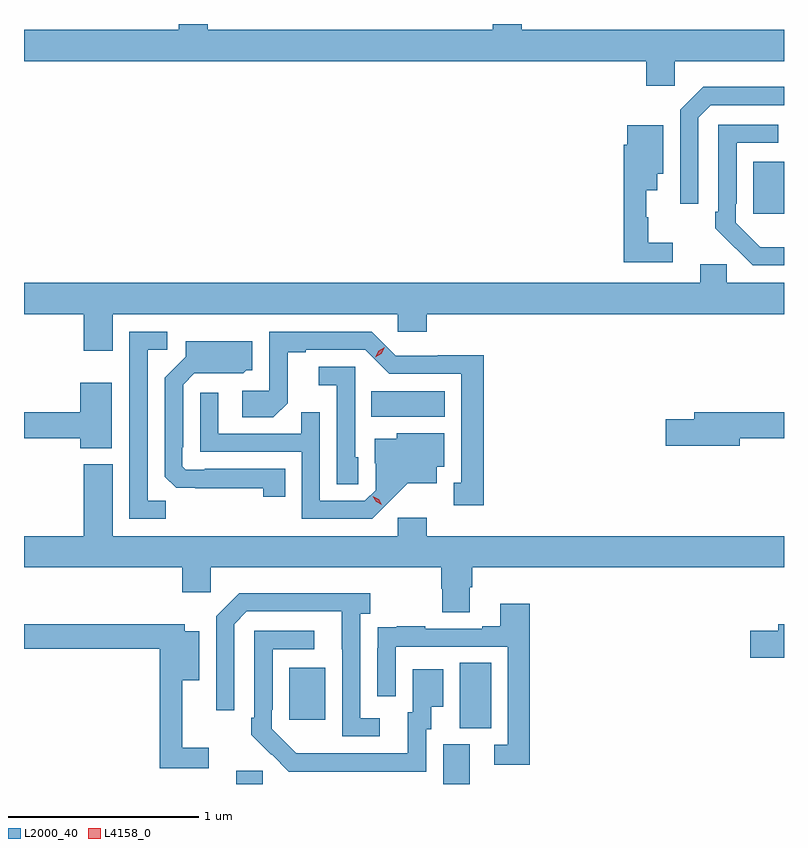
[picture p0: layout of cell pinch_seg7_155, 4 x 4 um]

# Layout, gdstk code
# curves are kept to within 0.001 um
import gdstk
lib = gdstk.Library(unit=1e-6, precision=1e-09)
def R(c, l, rs):  # rectangles x0, y0, x1, y1
    for r in rs: c.add(gdstk.rectangle(r[:2], r[2:], *l))
def P(c, l, *ps):  # polygons
    for p in ps: c.add(gdstk.Polygon(p, *l))
L2000_40 = (2000, 40)
L4158_0 = (4158, 0)

pinch_seg7_155 = lib.new_cell('pinch_seg7_155')
R(pinch_seg7_155, L2000_40, [(1047.746,1027.447,1047.885,1027.518), (1048.835,1027.447,1048.975,1027.656), (1048.922,1027.741,1049.086,1028.084), (1048.025,1027.785,1048.213,1028.059), (1048.456,1029.38,1048.843,1029.514), (1050.467,1030.449,1050.628,1030.723)])
P(pinch_seg7_155, L2000_40, [(1050.054,1031.252),(1050.628,1031.252),(1050.628,1031.416),(1049.249,1031.416),(1049.249,1031.447),(1049.096,1031.447),(1049.096,1031.416),(1047.594,1031.416),(1047.594,1031.447),(1047.443,1031.447),(1047.443,1031.416),(1046.628,1031.416),(1046.628,1031.252),(1049.903,1031.252),(1049.903,1031.121),(1050.054,1031.121)],
  [(1050.177,1030.953),(1050.243,1031.019),(1050.628,1031.019),(1050.628,1031.116),(1050.202,1031.116),(1050.081,1030.995),(1050.081,1030.5),(1050.177,1030.5)],
  [(1050.628,1030.272),(1050.504,1030.273),(1050.375,1030.401),(1050.375,1030.501),(1050.378,1030.501),(1050.378,1030.821),(1050.598,1030.821),(1050.598,1030.917),(1050.282,1030.917),(1050.282,1030.459),(1050.267,1030.459),(1050.267,1030.371),(1050.464,1030.176),(1050.628,1030.176)],
  [(1050.043,1030.295),(1049.914,1030.295),(1049.914,1030.431),(1049.903,1030.431),(1049.903,1030.571),(1049.962,1030.571),(1049.962,1030.658),(1049.992,1030.658),(1049.992,1030.915),(1049.804,1030.915),(1049.804,1030.811),(1049.785,1030.811),(1049.785,1030.194),(1050.043,1030.194)],
  [(1047.094,1029.92),(1048.596,1029.92),(1048.596,1029.827),(1048.748,1029.827),(1048.748,1029.92),(1050.628,1029.92),(1050.628,1030.084),(1050.327,1030.084),(1050.327,1030.182),(1050.188,1030.182),(1050.188,1030.084),(1046.628,1030.084),(1046.628,1029.92),(1046.942,1029.92),(1046.942,1029.726),(1047.094,1029.726)],
  [(1047.375,1028.939),(1047.279,1028.939),(1047.279,1029.732),(1047.382,1029.732),(1047.382,1029.828),(1047.183,1029.828),(1047.183,1028.844),(1047.375,1028.844)],
  [(1049.047,1029.704),(1048.806,1029.704),(1048.806,1029.702),(1048.584,1029.702),(1048.458,1029.828),(1047.918,1029.828),(1047.918,1029.516),(1047.777,1029.516),(1047.777,1029.376),(1047.941,1029.376),(1048.017,1029.452),(1048.017,1029.72),(1048.111,1029.72),(1048.111,1029.732),(1048.425,1029.732),(1048.551,1029.606),(1048.928,1029.606),(1048.928,1029.033),(1048.889,1029.033),(1048.889,1028.913),(1049.047,1028.913)],
  [(1048.004,1029.105),(1047.58,1029.105),(1047.58,1029.102),(1047.48,1029.102),(1047.462,1029.12),(1047.462,1029.22),(1047.465,1029.22),(1047.465,1029.549),(1047.525,1029.609),(1047.782,1029.608),(1047.798,1029.624),(1047.829,1029.624),(1047.829,1029.778),(1047.479,1029.778),(1047.479,1029.696),(1047.369,1029.586),(1047.369,1029.064),(1047.428,1029.005),(1047.886,1029.004),(1047.886,1028.958),(1048.004,1028.958)],
  [(1048.386,1029.168),(1048.371,1029.168),(1048.371,1029.642),(1048.179,1029.642),(1048.179,1029.545),(1048.275,1029.545),(1048.275,1029.025),(1048.386,1029.025)],
  [(1047.091,1029.559),(1046.924,1029.559),(1046.924,1029.404),(1046.628,1029.404),(1046.628,1029.268),(1046.924,1029.268),(1046.924,1029.215),(1047.091,1029.215)],
  [(1048.546,1028.927),(1048.649,1029.029),(1048.801,1029.029),(1048.801,1029.116),(1048.84,1029.116),(1048.84,1029.292),(1048.59,1029.292),(1048.59,1029.265),(1048.475,1029.265),(1048.475,1029.136),(1048.479,1029.136),(1048.479,1028.994),(1048.422,1028.937),(1048.185,1028.937),(1048.185,1029.404),(1048.087,1029.404),(1048.087,1029.291),(1047.651,1029.291),(1047.651,1029.505),(1047.555,1029.505),(1047.555,1029.195),(1048.089,1029.195),(1048.089,1028.844),(1048.462,1028.844)],
  [(1050.394,1029.268),(1050.628,1029.268),(1050.628,1029.404),(1050.155,1029.404),(1050.155,1029.368),(1050.006,1029.368),(1050.006,1029.226),(1050.394,1029.226)],
  [(1048.975,1028.482),(1048.988,1028.482),(1048.988,1028.588),(1050.628,1028.588),(1050.628,1028.752),(1048.748,1028.752),(1048.748,1028.848),(1048.596,1028.848),(1048.596,1028.752),(1047.094,1028.752),(1047.094,1029.13),(1046.942,1029.13),(1046.942,1028.752),(1046.628,1028.752),(1046.628,1028.588),(1047.461,1028.588),(1047.461,1028.457),(1047.612,1028.457),(1047.612,1028.588),(1048.823,1028.588),(1048.823,1028.475),(1048.828,1028.475),(1048.828,1028.35),(1048.975,1028.35)],
  [(1048.501,1027.794),(1048.398,1027.794),(1048.398,1028.342),(1048.45,1028.342),(1048.45,1028.452),(1047.76,1028.452),(1047.639,1028.331),(1047.639,1027.836),(1047.735,1027.836),(1047.735,1028.289),(1047.801,1028.355),(1048.301,1028.355),(1048.302,1027.698),(1048.501,1027.698)],
  [(1049.291,1028.395),(1049.135,1028.395),(1049.135,1028.278),(1049.039,1028.278),(1049.039,1028.265),(1048.739,1028.265),(1048.739,1028.278),(1048.591,1028.278),(1048.591,1028.271),(1048.489,1028.271),(1048.489,1028.162),(1048.488,1028.162),(1048.488,1027.908),(1048.584,1027.908),(1048.584,1028.169),(1049.175,1028.169),(1049.175,1027.653),(1049.103,1027.653),(1049.103,1027.548),(1049.291,1027.548)],
  [(1050.628,1028.287),(1050.599,1028.287),(1050.599,1028.253),(1050.45,1028.253),(1050.45,1028.111),(1050.628,1028.111)],
  [(1047.601,1027.639),(1047.461,1027.639),(1047.461,1027.994),(1047.55,1027.994),(1047.55,1028.251),(1047.474,1028.251),(1047.474,1028.287),(1046.628,1028.287),(1046.628,1028.158),(1047.343,1028.158),(1047.343,1027.53),(1047.601,1027.53)],
  [(1048.746,1027.734),(1048.771,1027.734),(1048.771,1027.853),(1048.834,1027.853),(1048.834,1028.05),(1048.673,1028.05),(1048.673,1027.824),(1048.649,1027.824),(1048.649,1027.608),(1048.062,1027.609),(1047.933,1027.737),(1047.933,1027.837),(1047.936,1027.837),(1047.936,1028.157),(1048.156,1028.157),(1048.156,1028.253),(1047.84,1028.253),(1047.84,1027.795),(1047.825,1027.795),(1047.825,1027.707),(1048.022,1027.512),(1048.746,1027.512)])
P(pinch_seg7_155, L4158_0, [(1048.477,1029.693),(1048.477,1029.694),(1048.494,1029.726),(1048.526,1029.745),(1048.526,1029.745),(1048.526,1029.745),(1048.509,1029.712),(1048.477,1029.693)],
  [(1048.512,1028.917),(1048.481,1028.932),(1048.463,1028.962),(1048.463,1028.962),(1048.464,1028.962),(1048.495,1028.947),(1048.512,1028.918),(1048.512,1028.917)])

lib.write_gds('pinch_seg7_155.gds')
